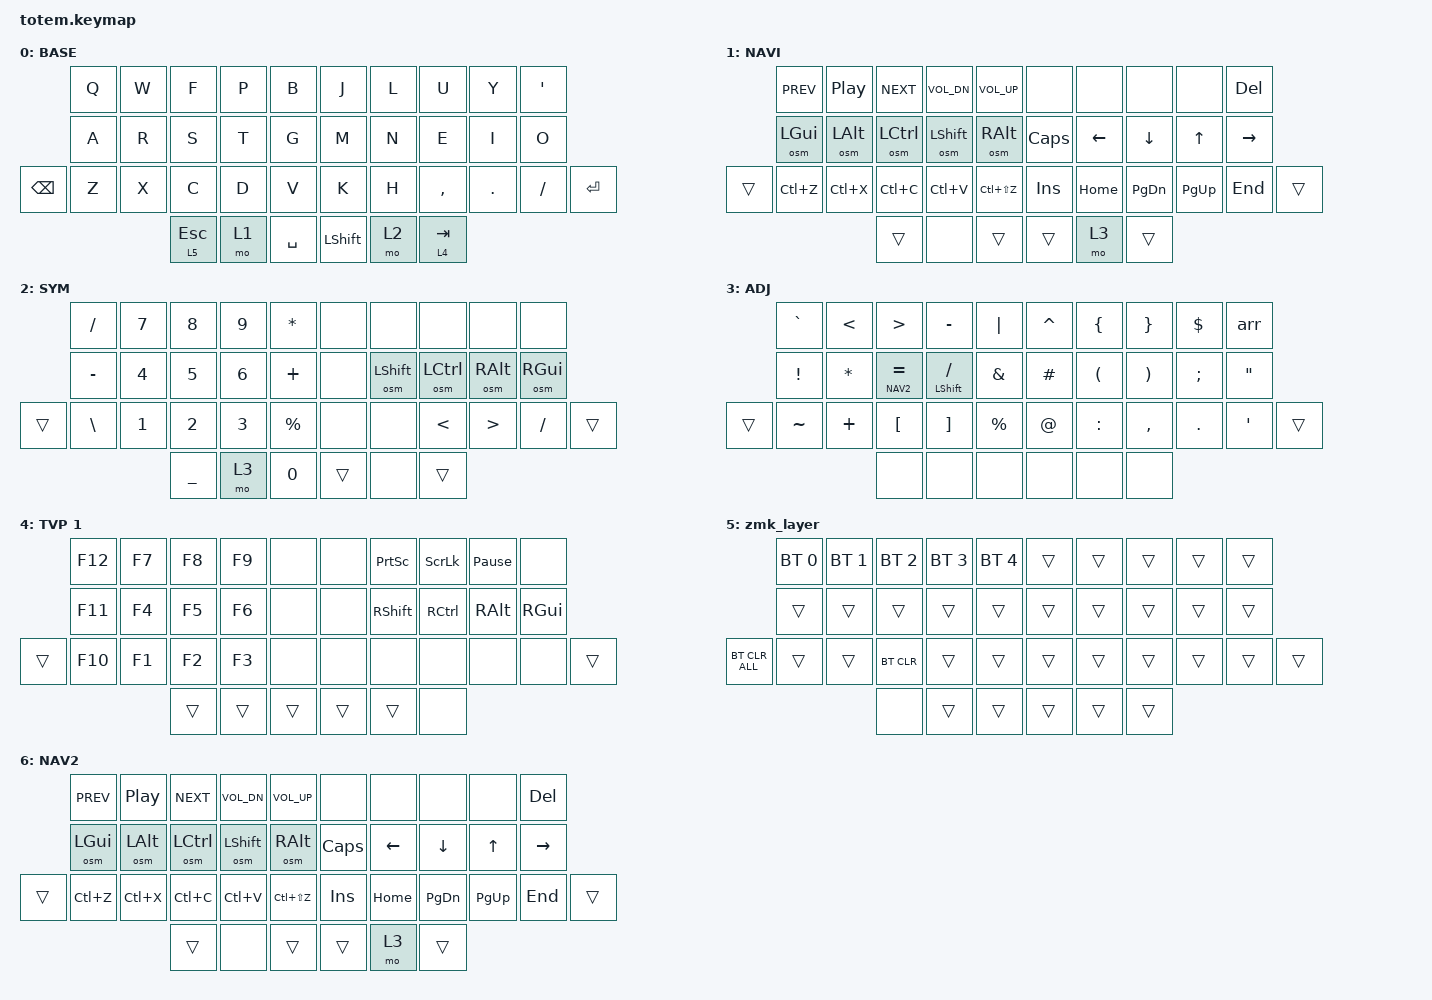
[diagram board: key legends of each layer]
//
//                                                        ▀▀▀▀▀     ▀▀▀▀▀          ▀▀█▀▀
//                                                        ▄▀▀▀▄  ▄  ▄▀▀▀▄  ▄  ▄▀▀▀▄  █  ▄▀▀▀▄
//                                                        █   █  █  █   █  █  █   █  █  █   █
//                                                         ▀▀▀   █   ▀▀▀   █   ▀▀▀   ▀   ▀▀▀
//                                                               █      ▄▄▄█▄▄▄    █   █  
//                                                               ▀      █  █  █     █▄█
//                                                             ▀▀▀▀▀    █  █  █      ▀
//                                                                      ▀  ▀  ▀
//
// ▄▄▄▄▄▄▄▄▄▄▄▄▄▄▄▄▄▄▄▄▄▄▄▄▄▄▄▄▄▄▄▄▄▄▄▄▄▄▄▄▄▄▄▄▄▄▄▄▄▄▄▄▄▄▄▄▄▄▄▄▄▄▄▄▄▄▄▄▄▄▄▄▄▄▄▄▄▄▄▄▄▄▄▄▄▄▄▄▄▄▄▄▄▄▄▄▄▄▄▄▄▄▄▄▄▄▄▄▄▄▄▄▄▄▄▄▄▄▄▄▄▄▄▄▄▄▄▄▄▄▄▄▄▄▄▄▄▄▄▄▄▄▄▄▄▄▄▄▄

#include <behaviors.dtsi>
#include <dt-bindings/zmk/bt.h>
#include <dt-bindings/zmk/keys.h>

#define BASE 0
#define NAV  1
#define SYM  2
#define ADJ  3
#define TVP1 4
#define TVP2 5
#define NAV2 6

/ {
    behaviors {
        // Seniply / Callum one-shot mods (QMK OSM). Stock ZMK &sk, named so
        // the settings stay off the default sticky key.
        //
        // Tap: the modifier stays armed until the next non-modifier keycode.
        // Layer changes do not clear it. &mo, and the hold of &lt, send no
        // keycode, so you can arm a mod on NAV, then hold SYM / ADJ / a
        // function layer, or release NAV and type on base.
        // Hold: chords like a normal modifier for as long as the key is down.
        // Once another key was pressed while it was held, releasing it does
        // not leave a one-shot behind.
        //
        // Taps stack (Ctrl, then Shift, then A is Ctrl+Shift+A). A second tap
        // of the same mod refreshes it; it does not cancel. `lazy` keeps an
        // unused tap off the host, so a GUI tap that times out does not open
        // the OS menu. `&kp LGUI` on NAV (D) is the key that taps Super alone.
        //
        // release-after-ms cannot be 0. This ZMK build (v0.3) treats 0 as
        // already expired and drops the modifier when the next key arrives,
        // instead of applying it. 5000 is QMK's default one-shot timeout.

        osm: one_shot_mod {
            compatible = "zmk,behavior-sticky-key";
            #binding-cells = <1>;
            display-name = "One-shot mod";
            bindings = <&kp>;
            release-after-ms = <5000>;
            quick-release;
            lazy;
            ignore-modifiers;
        };

        // Symbol-layer arrow. Shift and Alt select the variant, then are
        // masked so they don't alter the characters. Alt+Shift masks both
        // in the last step; a nested morph can only mask one set per step.
        //   ->    Shift =>    Alt <->    Alt+Shift <=>
        arr_r: arrow_right {
            compatible = "zmk,behavior-macro";
            #binding-cells = <0>;
            display-name = "->";
            bindings = <&macro_tap &kp MINUS &kp GREATER_THAN>;
        };
        arr_fat: arrow_fat {
            compatible = "zmk,behavior-macro";
            #binding-cells = <0>;
            display-name = "=>";
            bindings = <&macro_tap &kp EQUAL &kp GREATER_THAN>;
        };
        arr_lr: arrow_left_right {
            compatible = "zmk,behavior-macro";
            #binding-cells = <0>;
            display-name = "<->";
            bindings = <&macro_tap &kp LESS_THAN &kp MINUS &kp GREATER_THAN>;
        };
        arr_eq: arrow_both {
            compatible = "zmk,behavior-macro";
            #binding-cells = <0>;
            display-name = "<=>";
            bindings = <&macro_tap &kp LESS_THAN &kp EQUAL &kp GREATER_THAN>;
        };

        arr_nos: arrow_no_shift {
            compatible = "zmk,behavior-mod-morph";
            #binding-cells = <0>;
            bindings = <&arr_r>, <&arr_lr>;
            mods = <(MOD_LALT|MOD_RALT)>;
        };
        // Reached only while Shift is already held. Masks Shift and Alt together.
        arr_mask: arrow_shift_alt_mask {
            compatible = "zmk,behavior-mod-morph";
            #binding-cells = <0>;
            bindings = <&arr_fat>, <&arr_eq>;
            mods = <(MOD_LSFT|MOD_RSFT|MOD_LALT|MOD_RALT)>;
        };
        arr_s: arrow_with_shift {
            compatible = "zmk,behavior-mod-morph";
            #binding-cells = <0>;
            bindings = <&arr_fat>, <&arr_mask>;
            mods = <(MOD_LALT|MOD_RALT)>;
        };
        arr: arrow {
            compatible = "zmk,behavior-mod-morph";
            #binding-cells = <0>;
            display-name = "Arrow";
            bindings = <&arr_nos>, <&arr_s>;
            mods = <(MOD_LSFT|MOD_RSFT)>;
        };
    };
};

/ {
    combos {
        compatible = "zmk,combos";

        combo_esc {
            timeout-ms = <50>;
            key-positions = <0 1>;
            bindings = <&kp ESC>;
        };

        combo_tab {
            bindings = <&kp TAB>;
            key-positions = <2 1>;
        };
    };

    macros {
        gif: gif {
            label = "giphy";
            compatible = "zmk,behavior-macro";
            #binding-cells = <0>;
            bindings =
                <&macro_press>,
                <&kp LSHFT>,
                <&macro_tap>,
                <&kp N2>,
                <&macro_release>,
                <&kp LSHFT>,
                <&macro_tap>,
                <&kp G &kp I &kp F>;
        };
    };

    keymap {
        compatible = "zmk,keymap";

        base_layer {
            label = "BASE";
            bindings = <
          &kp Q  &kp W  &kp F         &kp P  &kp B        &kp J           &kp L  &kp U         &kp Y    &kp SINGLE_QUOTE
          &kp A  &kp R  &kp S         &kp T  &kp G        &kp M           &kp N  &kp E         &kp I    &kp O
&kp BSPC  &kp Z  &kp X  &kp C         &kp D  &kp V        &kp K           &kp H  &kp COMMA     &kp DOT  &kp FSLH          &kp RET
                        &lt 5 ESCAPE  &mo 1  &kp SPACE    &kp LEFT_SHIFT  &mo 2  &lt 4 TAB
            >;
        };

        nav_layer {
            label = "NAVI";

            bindings = <
        &kp C_PREV  &kp C_PP   &kp C_NEXT  &kp C_VOL_DN  &kp C_VOL_UP     &none         &none     &none          &none        &kp DELETE
        &osm LGUI   &osm LALT  &osm LCTRL  &osm LSHFT    &osm RALT        &kp CAPSLOCK  &kp LEFT  &kp DOWN       &kp UP       &kp RIGHT
&trans  &kp LC(Z)   &kp LC(X)  &kp LC(C)   &kp LC(V)     &kp LC(LS(Z))    &kp INSERT    &kp HOME  &kp PAGE_DOWN  &kp PAGE_UP  &kp END    &trans
                               &trans      &none         &trans           &trans        &mo 3     &trans
            >;
        };

        num_layer {
            label = "SYM";
            bindings = <
        &kp SLASH  &kp N7  &kp N8     &kp N9  &kp ASTRK       &none   &none      &none          &none             &none
        &kp MINUS  &kp N4  &kp N5     &kp N6  &kp PLUS        &none   &osm LSHFT &osm LCTRL     &osm RALT         &osm RIGHT_GUI
&trans  &kp BSLH   &kp N1  &kp N2     &kp N3  &kp PERCENT     &none   &none      &kp LESS_THAN  &kp GREATER_THAN  &kp FSLH       &trans
                           &kp UNDER  &mo 3   &kp NUMBER_0    &trans  &none      &trans
            >;
        };

        symbol_layer {
            label = "ADJ";
            bindings = <
        &kp GRAVE  &kp LESS_THAN  &kp GREATER_THAN  &kp MINUS          &kp PIPE         &kp CARET    &kp LEFT_BRACE        &kp RIGHT_BRACE        &kp DOLLAR     &arr
        &kp EXCL   &kp ASTERISK   &lt NAV2 EQUAL    &mt LSHFT SLASH    &kp AMPERSAND    &kp HASH     &kp LEFT_PARENTHESIS  &kp RIGHT_PARENTHESIS  &kp SEMICOLON  &kp DOUBLE_QUOTES
&trans  &kp TILDE  &kp PLUS       &kp LEFT_BRACKET  &kp RIGHT_BRACKET  &kp PERCENT      &kp AT_SIGN  &kp COLON             &kp COMMA              &kp DOT        &kp SQT            &trans
                                  &none             &none              &none            &none        &none                 &none
            >;
        };

        FUNCTION_LAYER {
            label = "TVP 1";
            bindings = <
        &kp F12  &kp F7  &kp F8  &kp F9  &none     &none   &kp PRINTSCREEN  &kp SCROLLLOCK  &kp PAUSE_BREAK  &none
        &kp F11  &kp F4  &kp F5  &kp F6  &none     &none   &kp RSHFT        &kp RCTRL       &kp RALT         &kp RGUI
&trans  &kp F10  &kp F1  &kp F2  &kp F3  &none     &none   &none            &none           &none            &none     &trans
                         &trans  &trans  &trans    &trans  &trans           &none
            >;
        };

        zmk_layer {
            bindings = <
                &bt BT_SEL 0  &bt BT_SEL 1  &bt BT_SEL 2  &bt BT_SEL 3  &bt BT_SEL 4    &trans  &trans  &trans  &trans  &trans
                &trans        &trans        &trans        &trans        &trans          &trans  &trans  &trans  &trans  &trans
&bt BT_CLR_ALL  &trans        &trans        &bt BT_CLR    &trans        &trans          &trans  &trans  &trans  &trans  &trans  &trans
                                            &none         &trans        &trans          &trans  &trans  &trans
            >;
        };

        nav_hold_layer {
            label = "NAV2";
            // Same keys as NAV, above the symbol layer, so holding = can
            // show nav while the symbol layer is still held.
            bindings = <
        &kp C_PREV  &kp C_PP   &kp C_NEXT  &kp C_VOL_DN  &kp C_VOL_UP     &none         &none     &none          &none        &kp DELETE
        &osm LGUI   &osm LALT  &osm LCTRL  &osm LSHFT    &osm RALT        &kp CAPSLOCK  &kp LEFT  &kp DOWN       &kp UP       &kp RIGHT
&trans  &kp LC(Z)   &kp LC(X)  &kp LC(C)   &kp LC(V)     &kp LC(LS(Z))    &kp INSERT    &kp HOME  &kp PAGE_DOWN  &kp PAGE_UP  &kp END    &trans
                               &trans      &none         &trans           &trans        &mo 3     &trans
            >;
        };
    };
};
